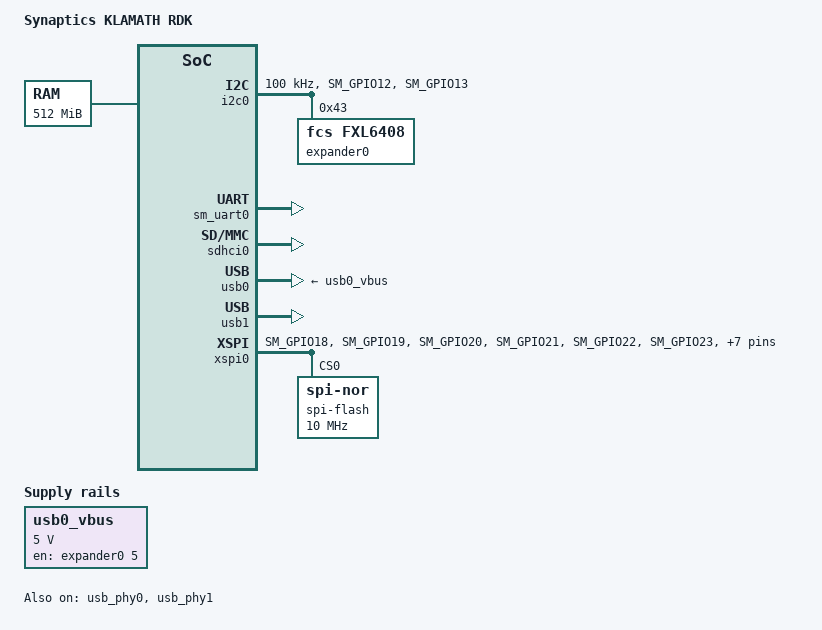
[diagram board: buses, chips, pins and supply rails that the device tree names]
// SPDX-License-Identifier: GPL-2.0+
/*
 * Copyright (C) 2016~2025 Synaptics Incorporated. All rights reserved.
 *
 * This program is free software; you can redistribute it and/or modify
 * it under the terms of the GNU General Public License version 2 or
 * later as published by the Free Software Foundation.
 *
 * INFORMATION CONTAINED IN THIS DOCUMENT IS PROVIDED "AS-IS," AND
 * SYNAPTICS EXPRESSLY DISCLAIMS ALL EXPRESS AND IMPLIED WARRANTIES,
 * INCLUDING ANY IMPLIED WARRANTIES OF MERCHANTABILITY AND FITNESS FOR
 * A PARTICULAR PURPOSE, AND ANY WARRANTIES OF NON-INFRINGEMENT OF ANY
 * INTELLECTUAL PROPERTY RIGHTS. IN NO EVENT SHALL SYNAPTICS BE LIABLE
 * FOR ANY DIRECT, INDIRECT, INCIDENTAL, SPECIAL, PUNITIVE, OR
 * CONSEQUENTIAL DAMAGES ARISING OUT OF OR IN CONNECTION WITH THE USE
 * OF THE INFORMATION CONTAINED IN THIS DOCUMENT, HOWEVER CAUSED AND
 * BASED ON ANY THEORY OF LIABILITY, WHETHER IN AN ACTION OF CONTRACT,
 * NEGLIGENCE OR OTHER TORTIOUS ACTION, AND EVEN IF SYNAPTICS WAS
 * ADVISED OF THE POSSIBILITY OF SUCH DAMAGE. IF A TRIBUNAL OF
 * COMPETENT JURISDICTION DOES NOT PERMIT THE DISCLAIMER OF DIRECT
 * DAMAGES OR ANY OTHER DAMAGES, SYNAPTICS' TOTAL CUMULATIVE LIABILITY
 * TO ANY PARTY SHALL NOT EXCEED ONE HUNDRED U.S. DOLLARS.
 */

/dts-v1/;

#include "klamath.dtsi"
#include <dt-bindings/gpio/gpio.h>

/ {
	model = "Synaptics KLAMATH RDK";
	compatible = "Synaptics,klamath", "Synaptics,asserial";

	memory {
		device_type = "memory";
		reg = <0 0 0 0x20000000>;
	};

	chosen {
		stdout-path = &sm_uart0;
	};

	regulators {
		compatible = "simple-bus";
		#address-cells = <1>;
		#size-cells = <0>;

		usb0_vbus: regulator@0 {
			compatible = "regulator-fixed";
			regulator-name = "usb0_vbus";
			regulator-min-microvolt = <5000000>;
			regulator-max-microvolt = <5000000>;
			gpio = <&expander0 5 GPIO_ACTIVE_HIGH>;
			enable-active-high;
		};
	};
};

&sysmgr_pinctrl {
	i2c0_pmux: i2c0-pmux {
		groups = "SM_GPIO12", "SM_GPIO13";
		function = "tw0";
	};

	xspi0_pmux: xspi0-pmux {
		groups = "SM_GPIO18", "SM_GPIO19", "SM_GPIO20", "SM_GPIO21",
				 "SM_GPIO22", "SM_GPIO23", "SM_GPIO24", "SM_GPIO25",
				 "SM_GPIO26", "SM_GPIO27", "SM_GPIO28", "SM_GPIO29",
				 "SM_GPIO30";
		function = "xspi";
	};
};

&i2c0 {
	status = "okay";
	pinctrl-0 = <&i2c0_pmux>;
	pinctrl-names = "default";
	clock-frequency = <100000>;
	i2c-sda-hold-time-ns = <449>;
	i2c-scl-rising-time-ns = <120>;
	i2c-scl-falling-time-ns = <20>;

	expander0: gpio@43 {
		compatible = "fcs,fxl6408";
		reg = <0x43>;
		gpio-controller;
		#gpio-cells = <2>;
	};
};

&sm_uart0 {
	status = "okay";
};

&sdhci0 {
	status = "okay";
	pad_sn = <10>;
	pad_sp = <10>;
	mmc-ddr-1_8v;
	mmc-hs200-1_8v;
	mmc-hs400-1_8v;
	fixed-voltage;
};

&usb_phy0 {
	status = "okay";
};

&usb0 {
	vbus-supply = <&usb0_vbus>;
	status = "okay";
};

&usb_phy1 {
    status = "okay";
};

&usb1 {
    status = "okay";
};


&xspi0 {
	status = "okay";
	pinctrl-0 = <&xspi0_pmux>;
	pinctrl-names = "default";

	spi-flash@0 {
		#address-cells = <1>;
		#size-cells = <1>;
		compatible = "jedec,spi-nor";
		reg = <0>;
		spi-max-frequency = <10000000>;
	};
};
